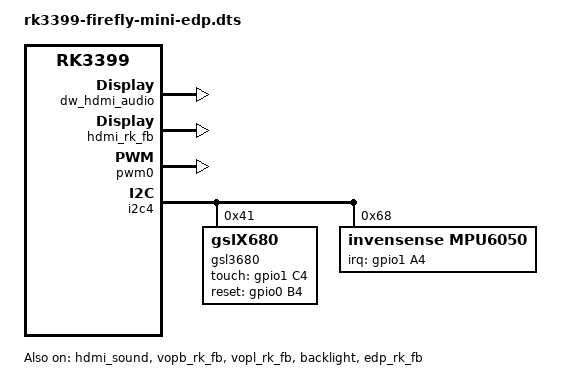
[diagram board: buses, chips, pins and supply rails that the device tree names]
/*
 * Copyright (c) 2016 Fuzhou Rockchip Electronics Co., Ltd
 *
 * This file is dual-licensed: you can use it either under the terms
 * of the GPL or the X11 license, at your option. Note that this dual
 * licensing only applies to this file, and not this project as a
 * whole.
 *
 *  a) This file is free software; you can redistribute it and/or
 *     modify it under the terms of the GNU General Public License as
 *     published by the Free Software Foundation; either version 2 of the
 *     License, or (at your option) any later version.
 *
 *     This file is distributed in the hope that it will be useful,
 *     but WITHOUT ANY WARRANTY; without even the implied warranty of
 *     MERCHANTABILITY or FITNESS FOR A PARTICULAR PURPOSE.  See the
 *     GNU General Public License for more details.
 *
 * Or, alternatively,
 *
 *  b) Permission is hereby granted, free of charge, to any person
 *     obtaining a copy of this software and associated documentation
 *     files (the "Software"), to deal in the Software without
 *     restriction, including without limitation the rights to use,
 *     copy, modify, merge, publish, distribute, sublicense, and/or
 *     sell copies of the Software, and to permit persons to whom the
 *     Software is furnished to do so, subject to the following
 *     conditions:
 *
 *     The above copyright notice and this permission notice shall be
 *     included in all copies or substantial portions of the Software.
 *
 *     THE SOFTWARE IS PROVIDED "AS IS", WITHOUT WARRANTY OF ANY KIND,
 *     EXPRESS OR IMPLIED, INCLUDING BUT NOT LIMITED TO THE WARRANTIES
 *     OF MERCHANTABILITY, FITNESS FOR A PARTICULAR PURPOSE AND
 *     NONINFRINGEMENT. IN NO EVENT SHALL THE AUTHORS OR COPYRIGHT
 *     HOLDERS BE LIABLE FOR ANY CLAIM, DAMAGES OR OTHER LIABILITY,
 *     WHETHER IN AN ACTION OF CONTRACT, TORT OR OTHERWISE, ARISING
 *     FROM, OUT OF OR IN CONNECTION WITH THE SOFTWARE OR THE USE OR
 *     OTHER DEALINGS IN THE SOFTWARE.
 */

/dts-v1/;

#include <dt-bindings/input/input.h>
#include "rk3399-firefly-port.dtsi"
#include "rk3399-android.dtsi"

/ {
	compatible = "rockchip,rk3399-firefly-mini-edp", "rockchip,rk3399";

	test-power {
		status = "okay";
	};
};

&rk_screen {
	#include <dt-bindings/display/screen-timing/lcd-F402.dtsi>
};

&disp_timings {
	native-mode = <&timing0>; /* 1080p */
};

&dw_hdmi_audio {
	status = "okay";
};

&fb {
	rockchip,disp-mode = <NO_DUAL>;
	rockchip,disp-policy = <DISPLAY_POLICY_BOX>;
};

&hdmi_rk_fb {
	status = "okay";
	rockchip,hdmi_video_source = <DISPLAY_SOURCE_LCDC1>;
};

&hdmi_sound {
	status = "okay";
};

&vopb_rk_fb {
	status = "okay";
    power_ctr: power_ctr {
               rockchip,debug = <0>;
               lcd_en: lcd-en {
                       rockchip,power_type = <GPIO>;
                       gpios = <&gpio1 A1 GPIO_ACTIVE_HIGH>;
                       rockchip,delay = <10>;
               };

               /*lcd_cs: lcd-cs {
                       rockchip,power_type = <GPIO>;
                       gpios = <&gpio0 C5 GPIO_ACTIVE_HIGH>;//GPIO_C5 = C5
                       rockchip,delay = <10>;
               };*/

               lcd_rst: lcd-rst {
                       rockchip,power_type = <GPIO>;
                       gpios = <&gpio4 D5 GPIO_ACTIVE_HIGH>;
                       rockchip,delay = <5>;
               };
       };
};
&vopl_rk_fb {
	status = "okay";
};

&pwm0 {
       status = "okay";
};

&backlight {
    status = "okay";
};

&edp_rk_fb {
    status = "okay";
};

&cdn_dp_fb {
	status = "disabled";
	extcon = <&fusb0>;
	dp_vop_sel = <DISPLAY_SOURCE_LCDC1>;
};

&cdn_dp_sound {
	status = "disabled";
};

&i2c4 {
	status = "okay";
    gsl3680: gsl3680@41 {
	      status = "okay";
              compatible = "gslX680";
              reg = <0x41>;
              screen_max_x = <1536>;
              screen_max_y = <2048>;
              touch-gpio = <&gpio1 C4 IRQ_TYPE_LEVEL_LOW>;
              reset-gpio = <&gpio0 B4 GPIO_ACTIVE_HIGH>;
      };

	mpu6050:mpu@68{
            compatible = "invensense,mpu6050";
            reg = <0x68>;
            mpu-int_config = <0x10>;
            mpu-level_shifter = <0>;
            mpu-orientation = <0 1 0 1 0 0 0 0 1>;
            orientation-x= <1>;
            orientation-y= <1>;
            orientation-z= <1>;
            irq-gpio = <&gpio1 A4 IRQ_TYPE_LEVEL_LOW>;
            mpu-debug = <1>;
        };

};
